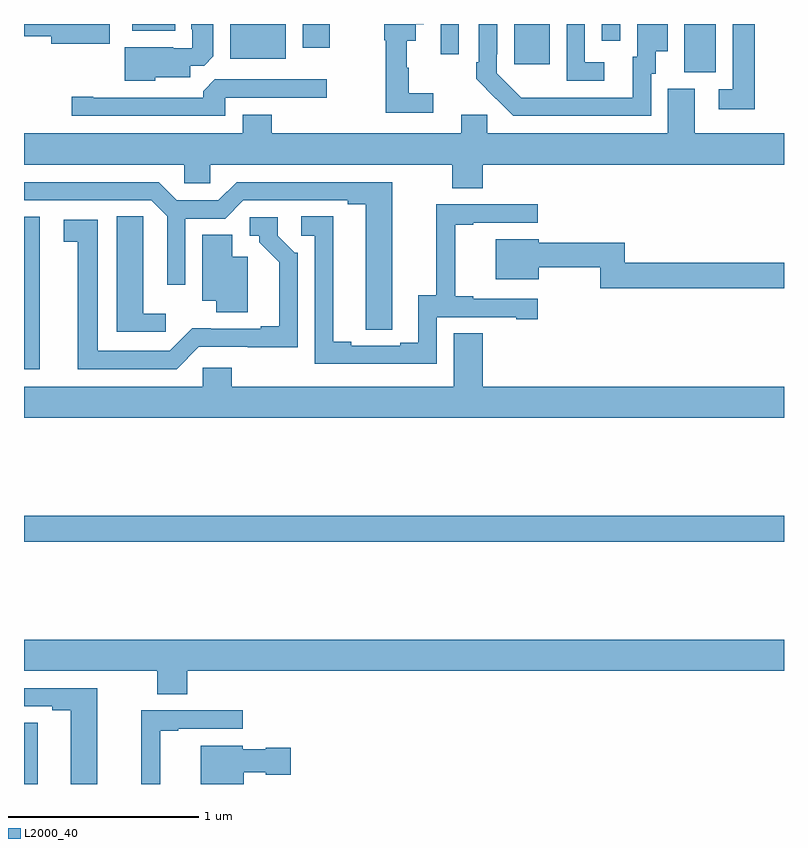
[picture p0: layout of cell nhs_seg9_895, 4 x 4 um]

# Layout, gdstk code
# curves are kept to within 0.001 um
import gdstk
lib = gdstk.Library(unit=1e-6, precision=1e-09)
def R(c, l, rs):  # rectangles x0, y0, x1, y1
    for r in rs: c.add(gdstk.rectangle(r[:2], r[2:], *l))
def P(c, l, *ps):  # polygons
    for p in ps: c.add(gdstk.Polygon(p, *l))
L2000_40 = (2000, 40)

nhs_seg9_895 = lib.new_cell('nhs_seg9_895')
R(nhs_seg9_895, L2000_40, [(159,1186.5,159.073,1186.823), (159,1187.776,163,1187.912), (159,1188.684,159.082,1189.486), (162.476,1190.245,162.64,1190.5), (161.579,1190.289,161.767,1190.5), (160.085,1190.318,160.378,1190.5), (161.193,1190.34,161.289,1190.5), (160.466,1190.376,160.608,1190.5), (162.042,1190.412,162.138,1190.5), (159.569,1190.465,159.796,1190.5)])
P(nhs_seg9_895, L2000_40, [(161.155,1190.135),(161.026,1190.135),(161.026,1190.271),(161.015,1190.271),(161.015,1190.411),(161.062,1190.411),(161.062,1190.498),(161.104,1190.498),(161.104,1190.5),(160.897,1190.5),(160.897,1190.415),(160.905,1190.415),(160.905,1190.034),(161.155,1190.034)],
  [(159.69,1190.219),(159.874,1190.219),(159.874,1190.28),(159.948,1190.28),(159.997,1190.329),(159.997,1190.5),(159.881,1190.5),(159.881,1190.473),(159.885,1190.473),(159.885,1190.373),(159.785,1190.373),(159.785,1190.377),(159.53,1190.377),(159.53,1190.201),(159.69,1190.201)],
  [(159.451,1190.5),(159,1190.5),(159,1190.435),(159.143,1190.435),(159.143,1190.396),(159.451,1190.396)],
  [(162.845,1190.5),(162.729,1190.5),(162.729,1190.157),(162.657,1190.157),(162.657,1190.052),(162.845,1190.052)],
  [(162.055,1190.298),(161.952,1190.298),(161.952,1190.5),(161.856,1190.5),(161.856,1190.202),(162.055,1190.202)],
  [(162.3,1190.238),(162.325,1190.238),(162.325,1190.357),(162.388,1190.357),(162.388,1190.5),(162.227,1190.5),(162.227,1190.328),(162.203,1190.328),(162.203,1190.112),(161.616,1190.113),(161.487,1190.241),(161.487,1190.341),(161.49,1190.341),(161.49,1190.5),(161.394,1190.5),(161.394,1190.299),(161.379,1190.299),(161.379,1190.211),(161.576,1190.016),(162.3,1190.016)],
  [(160.059,1190.112),(160.594,1190.112),(160.594,1190.208),(160.005,1190.208),(159.944,1190.146),(159.944,1190.112),(159.364,1190.112),(159.364,1190.117),(159.252,1190.117),(159.252,1190.016),(160.059,1190.016)],
  [(161.414,1189.76),(163,1189.76),(163,1189.924),(162.529,1189.924),(162.529,1190.16),(162.389,1190.16),(162.389,1189.924),(161.439,1189.924),(161.439,1190.022),(161.3,1190.022),(161.3,1189.924),(160.304,1189.924),(160.304,1190.023),(160.151,1190.023),(160.151,1189.924),(159,1189.924),(159,1189.76),(159.843,1189.76),(159.843,1189.662),(159.981,1189.662),(159.981,1189.76),(161.254,1189.76),(161.254,1189.636),(161.414,1189.636)],
  [(160.938,1189),(160.939,1189.668),(160.119,1189.668),(160.023,1189.572),(159.805,1189.572),(159.709,1189.668),(159,1189.668),(159,1189.572),(159.669,1189.572),(159.753,1189.488),(159.753,1189.128),(159.849,1189.128),(159.849,1189.476),(160.059,1189.476),(160.155,1189.572),(160.703,1189.572),(160.703,1189.552),(160.799,1189.552),(160.799,1188.892),(160.938,1188.892)],
  [(161.172,1188.957),(161.591,1188.957),(161.591,1188.945),(161.704,1188.945),(161.704,1189.053),(161.365,1189.053),(161.365,1189.066),(161.27,1189.066),(161.27,1189.443),(161.365,1189.443),(161.365,1189.455),(161.704,1189.455),(161.704,1189.551),(161.17,1189.551),(161.17,1189.073),(161.075,1189.073),(161.075,1188.822),(160.979,1188.822),(160.979,1188.807),(160.723,1188.807),(160.723,1188.827),(160.627,1188.827),(160.627,1189.487),(160.458,1189.487),(160.458,1189.386),(160.53,1189.386),(160.53,1188.711),(161.172,1188.711)],
  [(159.745,1188.976),(159.628,1188.976),(159.628,1189.379),(159.627,1189.379),(159.627,1189.487),(159.488,1189.487),(159.488,1188.879),(159.745,1188.879)],
  [(159.921,1188.801),(160.44,1188.8),(160.44,1189.296),(160.425,1189.296),(160.335,1189.386),(160.335,1189.482),(160.188,1189.482),(160.188,1189.386),(160.238,1189.386),(160.238,1189.351),(160.343,1189.246),(160.343,1188.91),(160.247,1188.91),(160.247,1188.897),(159.886,1188.898),(159.768,1188.78),(159.388,1188.78),(159.388,1189.47),(159.21,1189.47),(159.21,1189.354),(159.284,1189.354),(159.284,1188.684),(159.804,1188.684)],
  [(160.177,1189.276),(160.096,1189.276),(160.096,1189.391),(159.938,1189.391),(159.938,1189.043),(160.013,1189.043),(160.013,1188.982),(160.177,1188.982)],
  [(163,1189.244),(162.161,1189.244),(162.161,1189.348),(161.71,1189.348),(161.71,1189.366),(161.483,1189.366),(161.483,1189.157),(161.71,1189.157),(161.71,1189.219),(162.033,1189.219),(162.033,1189.108),(163,1189.108)],
  [(163,1188.592),(161.414,1188.592),(161.414,1188.872),(161.261,1188.872),(161.261,1188.592),(160.094,1188.592),(160.094,1188.69),(159.942,1188.69),(159.942,1188.592),(159,1188.592),(159,1188.428),(163,1188.428)],
  [(159.86,1187.096),(163,1187.096),(163,1187.26),(159,1187.26),(159,1187.096),(159.7,1187.096),(159.7,1186.972),(159.86,1186.972)],
  [(159.385,1187.004),(159,1187.004),(159,1186.908),(159.149,1186.908),(159.149,1186.888),(159.245,1186.888),(159.245,1186.5),(159.385,1186.5)],
  [(159.716,1186.779),(159.811,1186.779),(159.811,1186.791),(160.15,1186.791),(160.15,1186.887),(159.616,1186.887),(159.616,1186.5),(159.716,1186.5)],
  [(160.156,1186.562),(160.272,1186.562),(160.272,1186.55),(160.405,1186.55),(160.405,1186.692),(160.272,1186.692),(160.272,1186.684),(160.152,1186.684),(160.152,1186.702),(159.929,1186.702),(159.929,1186.5),(160.156,1186.5)])

lib.write_gds('nhs_seg9_895.gds')
